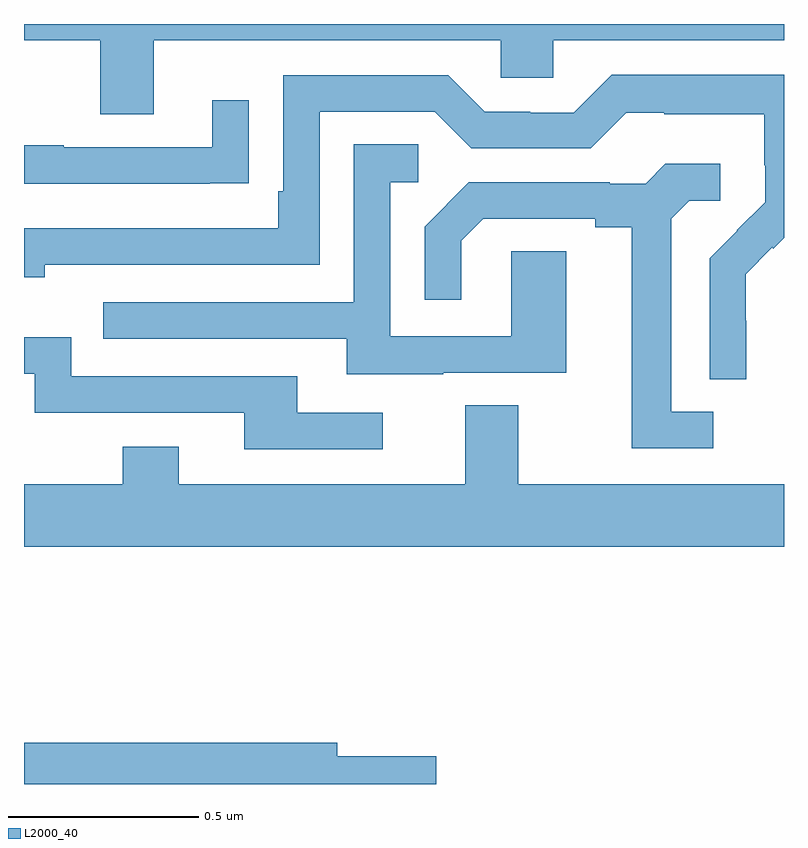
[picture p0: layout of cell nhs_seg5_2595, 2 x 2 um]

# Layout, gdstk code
import gdstk
lib = gdstk.Library(unit=1e-6, precision=1e-09)
def P(c, l, *ps):  # polygons
    for p in ps: c.add(gdstk.Polygon(p, *l))
L2000_40 = (2000, 40)

nhs_seg5_2595 = lib.new_cell('nhs_seg5_2595')
P(nhs_seg5_2595, L2000_40, [(146.341,860.756),(147.255,860.756),(147.255,860.658),(147.393,860.658),(147.393,860.756),(148,860.756),(148,860.799),(146,860.799),(146,860.756),(146.201,860.756),(146.201,860.562),(146.341,860.562)],
  [(147.9,860.018),(147.899,860.018),(147.899,860.141),(147.969,860.211),(147.972,860.208),(148,860.236),(148,860.665),(147.547,860.665),(147.447,860.565),(147.332,860.565),(147.332,860.568),(147.213,860.568),(147.117,860.664),(146.682,860.664),(146.682,860.359),(146.669,860.359),(146.669,860.262),(146,860.262),(146,860.132),(146.054,860.132),(146.054,860.166),(146.778,860.166),(146.778,860.568),(147.081,860.568),(147.177,860.472),(147.492,860.472),(147.585,860.565),(147.685,860.565),(147.685,860.561),(147.948,860.561),(147.948,860.427),(147.95,860.427),(147.95,860.33),(147.876,860.256),(147.877,860.255),(147.804,860.182),(147.804,859.864),(147.9,859.864)],
  [(146.489,860.38),(146.591,860.38),(146.591,860.599),(146.495,860.599),(146.495,860.475),(146.105,860.475),(146.105,860.48),(146,860.48),(146,860.379),(146.489,860.379)],
  [(147.103,859.881),(147.427,859.881),(147.427,860.201),(147.282,860.201),(147.282,859.977),(146.964,859.977),(146.964,860.382),(147.037,860.382),(147.037,860.483),(146.868,860.483),(146.868,860.067),(146.209,860.067),(146.209,859.971),(146.849,859.971),(146.849,859.877),(147.103,859.877)],
  [(147.814,859.779),(147.703,859.779),(147.703,860.287),(147.75,860.334),(147.832,860.334),(147.832,860.431),(147.688,860.431),(147.636,860.379),(147.542,860.379),(147.542,860.382),(147.17,860.382),(147.054,860.266),(147.054,860.073),(147.151,860.073),(147.151,860.229),(147.208,860.286),(147.503,860.286),(147.503,860.264),(147.599,860.264),(147.599,859.683),(147.814,859.683)],
  [(146.944,859.776),(146.719,859.776),(146.719,859.872),(146.124,859.872),(146.124,859.975),(146,859.975),(146,859.878),(146.028,859.878),(146.028,859.776),(146.579,859.776),(146.579,859.68),(146.944,859.68)],
  [(148,859.588),(147.301,859.588),(147.301,859.796),(147.161,859.796),(147.161,859.588),(146.407,859.588),(146.407,859.687),(146.26,859.687),(146.26,859.588),(146,859.588),(146,859.424),(148,859.424)],
  [(147.085,858.872),(146.824,858.872),(146.824,858.908),(146,858.908),(146,858.799),(147.085,858.799)])

lib.write_gds('nhs_seg5_2595.gds')
